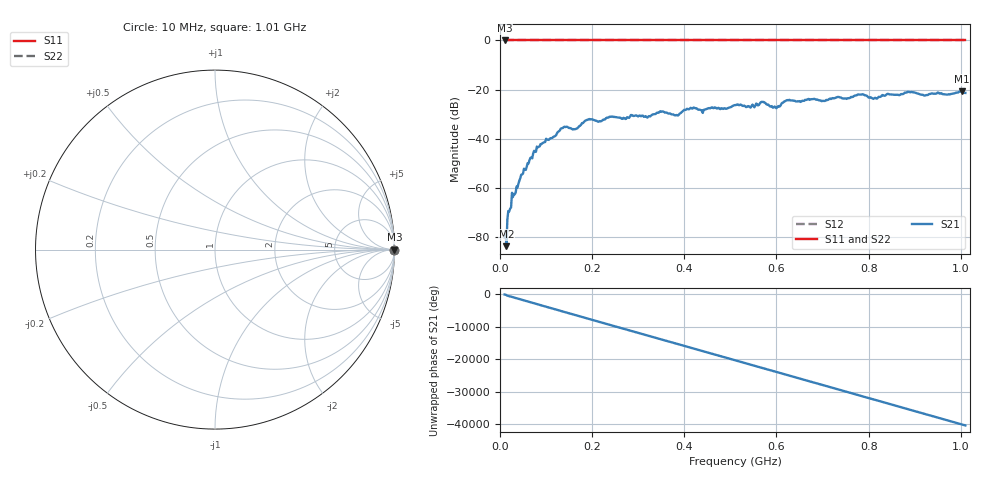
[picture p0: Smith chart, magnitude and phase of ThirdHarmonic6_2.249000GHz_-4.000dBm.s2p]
! 8/17/2025 2:41:19 AM
! C:\ANRITSUVNA\TEMP\TEMP.S2P
! CHANNEL.1
! TR.MEASUREMENT
! RAW.DATA
! RF.CORRECTION.OFF
! AVERAGING.OFF
! IF.BANDWIDTH: 5KHZ
! SWEEPTYPE:  FREQ.SWEEP(Linear)
! Reference Plane Port Info
! PORT:  PORT1  PORT2
! DISTANCE:  0  m  0  m
! TIME:  0  s  0  s
! PHASE.OFFSET:  0  deg.  0  deg.
! LOSS:  0  dB  0  dB
! REF.LOSS:  0  dB  0  dB
! REF.FREQ:  0  Hz  0  Hz
! Power Info
! POWER:  -20  dBm  -20  dBm
! EFF.POWER:  -20  dBm  -20  dBm
! SOURCE.ATTEN:  0  dB  0  dB
! TEST.ATTEN:  0  dB  0  dB
# GHZ S RI R 50.0
! FREQ.GHZ  S11RE  S11IM  S21RE  S21IM  S12RE  S12IM  S22RE  S22IM
!; PortSelection: Port_12
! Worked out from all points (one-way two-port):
!   501 points, 10 MHz to 1.01 GHz, reference 50 ohm
!   highest |S21| = -20.69 dB at 1.002 GHz (marker M1); lowest = -83.7 dB at 14 MHz (marker M2)
!   lowest |S11| = 0.0 dB at 10 MHz (marker M3)
!   |S11| at or under -10 dB: nowhere
!   |S22| runs from 0.0 to 0.0 dB; largest |S21 - S12| = 1.1
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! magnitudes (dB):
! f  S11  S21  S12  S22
! 10 MHz  0.0  -80.2  0.0  0.0
! 14 MHz  0.0  -83.7  0.0  0.0
! 22 MHz  0.0  -68.4  0.0  0.0
! 30 MHz  0.0  -62.4  0.0  0.0
! 48 MHz  0.0  -54.5  0.0  0.0
! 76 MHz  0.0  -45.3  0.0  0.0
! 136 MHz  0.0  -35.6  0.0  0.0
! 162 MHz  0.0  -36.1  0.0  0.0
! 178 MHz  0.0  -33.6  0.0  0.0
! 344 MHz  0.0  -29.4  0.0  0.0
! 384 MHz  0.0  -30.3  0.0  0.0
! 416 MHz  0.0  -27.7  0.0  0.0
! 510 MHz  0.0  -26.3  0.0  0.0
! 570 MHz  0.0  -25.0  0.0  0.0
! 596 MHz  0.0  -26.9  0.0  0.0
! 624 MHz  0.0  -24.3  0.0  0.0
! 678 MHz  0.0  -23.9  0.0  0.0
! 784 MHz  0.0  -22.0  0.0  0.0
! 814 MHz  0.0  -23.3  0.0  0.0
! 844 MHz  0.0  -21.9  0.0  0.0
! 1.002 GHz  0.0  -20.7  0.0  0.0
! 1.01 GHz  0.0  -21.3  0.0  0.0
